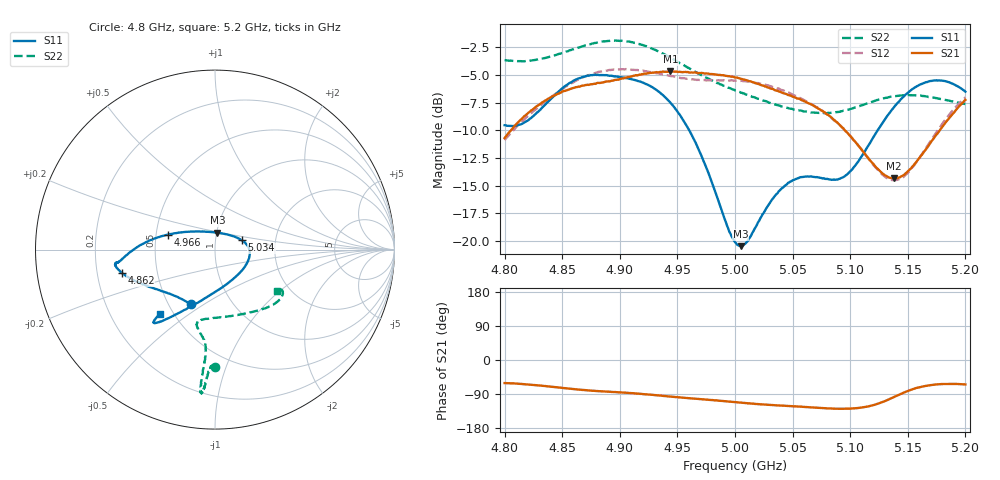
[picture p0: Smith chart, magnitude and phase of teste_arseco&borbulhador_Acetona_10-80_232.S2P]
! Network Analyzer HP8722D
! Hewlett-Packard
! Data name: Linha & Wilkinson
! Saver's name: Rodrigo Anjos
! Comments: Teste da utilização de aquisição
! continua pelo VNA HP8722D
! Time and date: 17/4/2025 16:17
!  Frequency  S11  S21  S12  S22
# HZ  S  MA R 50
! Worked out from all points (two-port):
!   401 points, 4.8 GHz to 5.2 GHz, reference 50 ohm
!   highest |S21| = -4.68 dB at 4.944 GHz (marker M1); lowest = -14.4 dB at 5.138 GHz (marker M2)
!   |S21| within 3 dB of the highest: 4.83 GHz to 5.066 GHz (236.3 MHz wide, 4.77 % of centre); 5.19602 GHz to end of sweep
!   lowest |S11| = -20.5 dB at 5.005 GHz (marker M3), VSWR 1.21, Z = 50.4 + j9.55 ohm
!   |S11| at or under -10 dB: 4.96 GHz to 5.124 GHz (163.6 MHz wide, 3.24 % of centre)
!   |S22| runs from -8.5 to -1.9 dB; largest |S21 - S12| = 0.87
!   S11 on the Smith chart (normalised r, x): 4.8 GHz: 0.64, -0.44; 4.862 GHz: 0.31, -0.11; 4.966 GHz: 0.58, +0.10; 5.034 GHz: 1.34, +0.14; 5.2 GHz: 0.42, -0.39
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4.8e9  0.3334 -113.7  0.2916 -60.8  0.2855 -175.2  0.6557 -90.1
4.819e9  0.3476 -133.7  0.3729 -64.2  0.3617 -173.9  0.6506 -91.7
4.862e9  0.5363 -166.1  0.4953 -77.3  0.5296 -177.1  0.7404 -93.9
4.867e9  0.5487 -168.1  0.5023 -78.8  0.5445 -178.1  0.7561 -94.2
4.903e9  0.5473 -172.6  0.5427 -85.9  0.5969 174.7  0.7995 -95.7
4.934e9  0.472 -178.5  0.5771 -93.7  0.5705 171.7  0.7148 -95.9
4.944e9  0.4212 177.0  0.5835 -96.6  0.5559 171.8  0.6741 -95.7
4.966e9  0.2767 162.5  0.5769 -102.2  0.5352 173.6  0.5787 -95.1
5e9  0.0989 99.7  0.5475 -111.2  0.5309 175.9  0.4789 -99.3
5.005e9  0.0948 82.2  0.5395 -112.6  0.5284 175.9  0.4674 -100.4
5.012e9  0.1024 59.0  0.5272 -114.3  0.5238 175.9  0.4535 -101.9
5.034e9  0.1581 19.2  0.4817 -119.2  0.4936 174.6  0.4147 -103.2
5.048e9  0.1854 5.0  0.4543 -121.6  0.4639 173.9  0.3957 -100.1
5.067e9  0.1953 -15.0  0.4116 -125.1  0.4134 173.5  0.3806 -90.3
5.087e9  0.1891 -47.2  0.3485 -128.6  0.3478 173.6  0.3811 -75.3
5.097e9  0.1993 -67.6  0.3097 -128.6  0.3103 174.7  0.3903 -67.1
5.134e9  0.3774 -117.0  0.1934 -103.4  0.1902 -156.4  0.4467 -43.0
5.138e9  0.402 -119.2  0.1916 -97.9  0.1881 -150.0  0.45 -41.2
5.151e9  0.471 -124.9  0.2083 -80.6  0.2057 -130.1  0.4561 -36.5
5.17e9  0.5281 -129.2  0.2786 -66.2  0.284 -112.3  0.4464 -32.1
5.184e9  0.5241 -130.5  0.3494 -63.2  0.3613 -107.3  0.4321 -31.1
5.2e9  0.4723 -130.8  0.4339 -64.5  0.4458 -106.6  0.4149 -33.5
